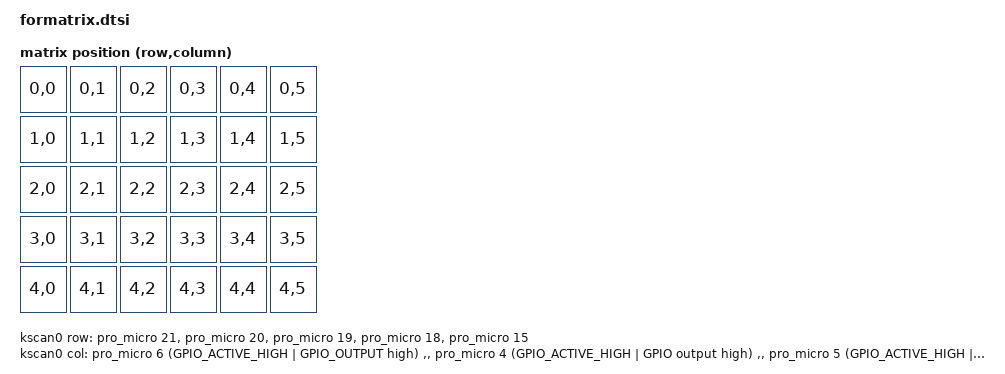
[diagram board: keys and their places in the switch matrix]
/*
 * ForMatrix Keyboard - Shield Definition
 * For: nice!nano v2 / Pro Micro nRF52840 / Supermini nRF52840
 */

#include <dt-bindings/zmk/matrix_transform.h>
#include <physical_layouts.dtsi>

/ {
    chosen {
        zmk,kscan = <&kscan0>;
        zmk,matrix-transform = <&default_transform>;
    };

    default_transform: keymap_transform_0 {
        compatible = "zmk,matrix-transform";
        columns = <6>;
        rows = <5>;
        
        map = <
RC(0,0) RC(0,1) RC(0,2) RC(0,3) RC(0,4) RC(0,5)
RC(1,0) RC(1,1) RC(1,2) RC(1,3) RC(1,4) RC(1,5)
RC(2,0) RC(2,1) RC(2,2) RC(2,3) RC(2,4) RC(2,5)
RC(3,0) RC(3,1) RC(3,2) RC(3,3) RC(3,4) RC(3,5)
RC(4,0) RC(4,1) RC(4,2) RC(4,3) RC(4,4) RC(4,5)
        >;
    };

    kscan0: kscan {
        compatible = "zmk,kscan-gpio-matrix";
        wakeup-source;
        diode-direction = "col2row";
        
        row-gpios
            = <&pro_micro 21 GPIO_ACTIVE_HIGH>
            , <&pro_micro 20 GPIO_ACTIVE_HIGH>
            , <&pro_micro 19 GPIO_ACTIVE_HIGH>
            , <&pro_micro 18 GPIO_ACTIVE_HIGH>
            , <&pro_micro 15 GPIO_ACTIVE_HIGH>
            ;
        col-gpios = <&pro_micro 6 (GPIO_ACTIVE_HIGH | GPIO_OUTPUT high)
        , <&pro_micro 4 (GPIO_ACTIVE_HIGH | GPIO output high)
        , <&pro_micro 5 (GPIO_ACTIVE_HIGH | GPIO output low)
        , <&pro_micro 10 (GPIO_ACTIVE_LOW)>;
    };

};
